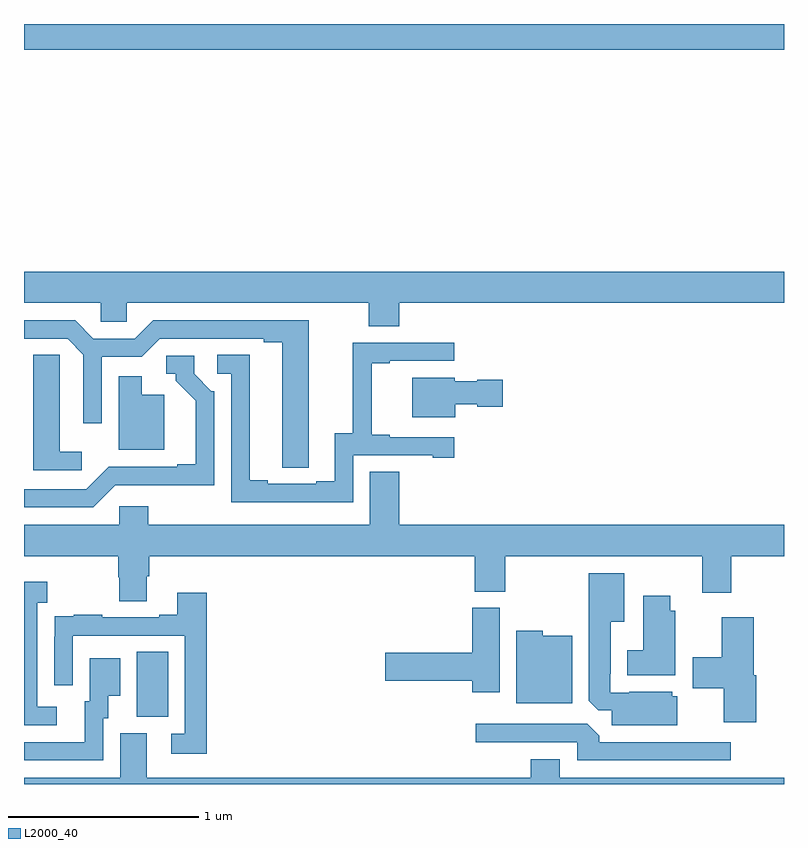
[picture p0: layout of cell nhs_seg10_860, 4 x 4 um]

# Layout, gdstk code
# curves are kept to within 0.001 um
import gdstk
lib = gdstk.Library(unit=1e-6, precision=1e-09)
def R(c, l, rs):  # rectangles x0, y0, x1, y1
    for r in rs: c.add(gdstk.rectangle(r[:2], r[2:], *l))
def P(c, l, *ps):  # polygons
    for p in ps: c.add(gdstk.Polygon(p, *l))
L2000_40 = (2000, 40)

nhs_seg10_860 = lib.new_cell('nhs_seg10_860')
R(nhs_seg10_860, L2000_40, [(155.594,1248.853,155.758,1249.196), (155,1252.364,159,1252.5)])
P(nhs_seg10_860, L2000_40, [(156.974,1251.032),(159,1251.032),(159,1251.196),(155,1251.196),(155,1251.032),(155.403,1251.032),(155.403,1250.934),(155.541,1250.934),(155.541,1251.032),(156.814,1251.032),(156.814,1250.908),(156.974,1250.908)],
  [(156.498,1250.272),(156.499,1250.94),(155.679,1250.94),(155.583,1250.844),(155.365,1250.844),(155.269,1250.94),(155,1250.94),(155,1250.844),(155.229,1250.844),(155.313,1250.76),(155.313,1250.4),(155.409,1250.4),(155.409,1250.748),(155.619,1250.748),(155.715,1250.844),(156.263,1250.844),(156.263,1250.824),(156.359,1250.824),(156.359,1250.164),(156.498,1250.164)],
  [(156.732,1250.229),(157.151,1250.229),(157.151,1250.217),(157.264,1250.217),(157.264,1250.325),(156.925,1250.325),(156.925,1250.338),(156.83,1250.338),(156.83,1250.715),(156.925,1250.715),(156.925,1250.727),(157.264,1250.727),(157.264,1250.823),(156.73,1250.823),(156.73,1250.345),(156.635,1250.345),(156.635,1250.094),(156.539,1250.094),(156.539,1250.079),(156.283,1250.079),(156.283,1250.099),(156.187,1250.099),(156.187,1250.759),(156.018,1250.759),(156.018,1250.658),(156.09,1250.658),(156.09,1249.983),(156.732,1249.983)],
  [(155.305,1250.248),(155.188,1250.248),(155.188,1250.651),(155.187,1250.651),(155.187,1250.759),(155.048,1250.759),(155.048,1250.151),(155.305,1250.151)],
  [(155.481,1250.073),(156,1250.072),(156,1250.568),(155.985,1250.568),(155.895,1250.658),(155.895,1250.754),(155.748,1250.754),(155.748,1250.658),(155.798,1250.658),(155.798,1250.623),(155.903,1250.518),(155.903,1250.182),(155.807,1250.182),(155.807,1250.169),(155.445,1250.169),(155.328,1250.052),(155,1250.052),(155,1249.956),(155.364,1249.956)],
  [(155.737,1250.548),(155.62,1250.548),(155.62,1250.647),(155.498,1250.647),(155.498,1250.258),(155.737,1250.258)],
  [(157.27,1250.498),(157.386,1250.498),(157.386,1250.486),(157.519,1250.486),(157.519,1250.628),(157.386,1250.628),(157.386,1250.62),(157.266,1250.62),(157.266,1250.638),(157.043,1250.638),(157.043,1250.429),(157.27,1250.429)],
  [(155.647,1249.594),(155.66,1249.594),(155.66,1249.7),(157.373,1249.7),(157.373,1249.513),(157.533,1249.513),(157.533,1249.7),(158.57,1249.7),(158.57,1249.506),(158.723,1249.506),(158.723,1249.7),(159,1249.7),(159,1249.864),(156.974,1249.864),(156.974,1250.144),(156.821,1250.144),(156.821,1249.864),(155.654,1249.864),(155.654,1249.962),(155.502,1249.962),(155.502,1249.864),(155,1249.864),(155,1249.7),(155.495,1249.7),(155.495,1249.587),(155.5,1249.587),(155.5,1249.462),(155.647,1249.462)],
  [(158.437,1248.963),(158.412,1248.963),(158.412,1248.985),(158.185,1248.985),(158.185,1248.981),(158.085,1248.981),(158.085,1249.081),(158.089,1249.081),(158.089,1249.355),(158.158,1249.355),(158.158,1249.609),(157.973,1249.609),(157.973,1248.937),(158.022,1248.888),(158.093,1248.888),(158.093,1248.809),(158.437,1248.809)],
  [(155.173,1248.906),(155.07,1248.906),(155.07,1249.454),(155.122,1249.454),(155.122,1249.564),(155,1249.564),(155,1248.81),(155.173,1248.81)],
  [(155.963,1249.507),(155.807,1249.507),(155.807,1249.39),(155.711,1249.39),(155.711,1249.377),(155.411,1249.377),(155.411,1249.39),(155.263,1249.39),(155.263,1249.383),(155.161,1249.383),(155.161,1249.274),(155.16,1249.274),(155.16,1249.02),(155.256,1249.02),(155.256,1249.281),(155.847,1249.281),(155.847,1248.765),(155.775,1248.765),(155.775,1248.66),(155.963,1248.66)],
  [(158.428,1249.413),(158.401,1249.413),(158.401,1249.492),(158.258,1249.492),(158.258,1249.204),(158.174,1249.204),(158.174,1249.073),(158.428,1249.073)],
  [(157.504,1249.428),(157.358,1249.428),(157.358,1249.19),(156.9,1249.19),(156.9,1249.043),(157.358,1249.043),(157.358,1248.984),(157.504,1248.984)],
  [(158.855,1249.073),(158.84,1249.073),(158.84,1249.378),(158.672,1249.378),(158.672,1249.167),(158.52,1249.167),(158.52,1249.004),(158.684,1249.004),(158.684,1248.825),(158.855,1248.825)],
  [(157.885,1249.279),(157.731,1249.279),(157.731,1249.306),(157.592,1249.306),(157.592,1248.926),(157.885,1248.926)],
  [(155.418,1248.846),(155.443,1248.846),(155.443,1248.965),(155.506,1248.965),(155.506,1249.162),(155.345,1249.162),(155.345,1248.936),(155.321,1248.936),(155.321,1248.72),(155,1248.72),(155,1248.624),(155.418,1248.624)],
  [(158.719,1248.72),(158.027,1248.72),(158.027,1248.754),(157.965,1248.816),(157.377,1248.816),(157.377,1248.72),(157.911,1248.72),(157.911,1248.624),(158.719,1248.624)],
  [(159,1248.532),(157.819,1248.532),(157.819,1248.631),(157.667,1248.631),(157.667,1248.532),(155.647,1248.532),(155.647,1248.768),(155.507,1248.768),(155.507,1248.532),(155,1248.532),(155,1248.5),(159,1248.5)])

lib.write_gds('nhs_seg10_860.gds')
